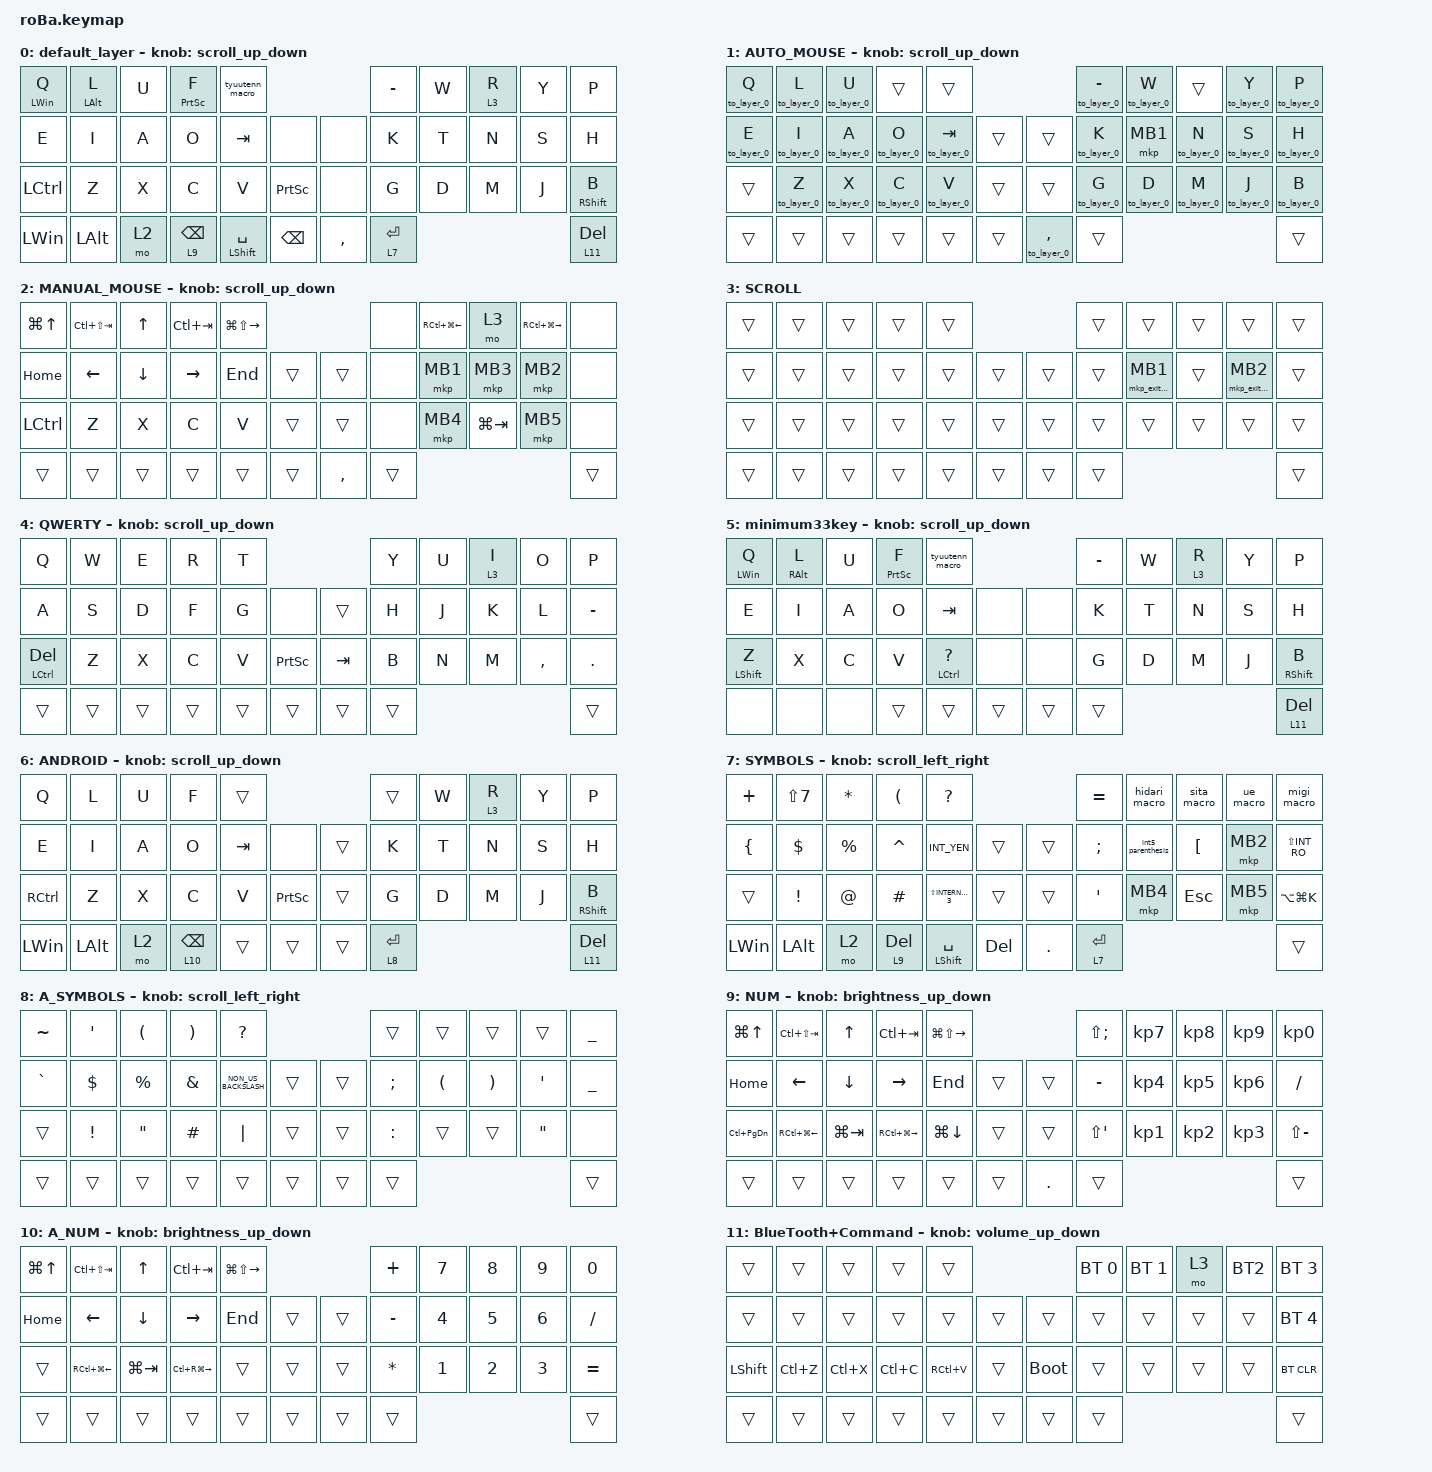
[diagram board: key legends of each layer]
#include <behaviors.dtsi>
#include <dt-bindings/zmk/bt.h>
#include <dt-bindings/zmk/keys.h>
#include <dt-bindings/zmk/pointing.h>

#undef ZMK_POINTING_DEFAULT_SCRL_VAL

#define ZMK_POINTING_DEFAULT_SCRL_VAL 100
#define AUTO_MOUSE 1
#define SCROLL 3

&mt {
    flavor = "balanced";
    quick-tap-ms = <0>;
};

&trackball {
    automouse-layer = <1>;
    scroll-layers = <3>;

    // arrows {
    //     layers = <4>;
    //     bindings =
    //         <&kp RIGHT_ARROW>,
    //         <&kp LEFT_ARROW>,
    //         <&kp UP_ARROW>,
    //         <&kp DOWN_ARROW>;
    //     tick = <10>;
    //     wait-ms = <5>;
    //     tap-ms = <5>;
    // };
};

/ {
    combos {
        compatible = "zmk,combos";

        L0int4 {
            bindings = <&L0int4_macro>;
            key-positions = <18 19>;
            layers = <0 1 2 3 7 9 11>;
        };

        L0int5 {
            bindings = <&L0int5_macro>;
            key-positions = <12 13>;
            layers = <0 1 2 3 7 9 11>;
        };

        combo_android {
            bindings = <&kp LC(SPACE)>;
            key-positions = <12 13>;
            layers = <6 8 10>;   // ANDROIDだけ
        };

        combo_android2 {
            bindings = <&android_henkan>;
            key-positions = <18 19>;
            layers = <6 8 10>;   // ANDROIDだけ
        };

        PW {
            bindings = <&pa_macro>;
            key-positions = <9 0>;
        };

        gid {
            bindings = <&GID_macro>;
            key-positions = <0 8>;
        };

        to_manualmouse {
            bindings = <&tog 2>;
            key-positions = <9 8>;
        };

        zekken {
            bindings = <&kp D>;
            key-positions = <10 11>;
        };

        qwerty {
            bindings = <&tog 4>;
            key-positions = <0 1>;
        };

        m32key_mode {
            bindings = <&tog 5>;
            key-positions = <1 2>;
        };
    };

    macros {
        to_layer_0: to_layer_0 {
            compatible = "zmk,behavior-macro-one-param";
            #binding-cells = <1>;
            bindings = <&to 0 &macro_param_1to1 &kp MACRO_PLACEHOLDER>;
            label = "TO_LAYER_0";
        };

        mkp_exit_AML: mkp_exit_AML {
            compatible = "zmk,behavior-macro-one-param";
            #binding-cells = <1>;
            bindings =
                <&macro_press>,
                <&macro_param_1to1 &mkp MACRO_PLACEHOLDER>,
                <&macro_pause_for_release>,
                <&macro_release>,
                <&macro_param_1to1 &mkp MACRO_PLACEHOLDER>,
                <&macro_tap>,
                <&sl 1>;

            label = "MKP_EXIT_AML";
        };

        parenthesis: parenthesis {
            compatible = "zmk,behavior-macro";
            #binding-cells = <0>;
            bindings = <&kp ASTERISK &kp LEFT_PARENTHESIS &kp LEFT_ARROW>;
            label = "PARENTHESIS";
        };

        int5_parenthesis: int5_parenthesis {
            compatible = "zmk,behavior-macro";
            #binding-cells = <0>;
            bindings = <&kp INTERNATIONAL_5 &kp ASTERISK &kp LEFT_PARENTHESIS &kp LEFT_ARROW>;
            label = "int5_parenthesis";
        };

        pa_macro: pa_macro {
            compatible = "zmk,behavior-macro";
            #binding-cells = <0>;
            label = "Pa";
            bindings = <&kp INTERNATIONAL_5 &kp N0 &kp LS(K) &kp A &kp K &kp O &kp N1 &kp LS(M) &kp I &kp R &kp A &kp I &kp EXCLAMATION &kp N0 &kp N2>;
        };

        GID_macro: GID_macro {
            compatible = "zmk,behavior-macro";
            #binding-cells = <0>;
            label = "GID";
            bindings = <&kp INTERNATIONAL_5 &kp N0 &kp N0 &kp N2 &kp N0 &kp N2 &kp N2 &kp N5 &kp N1 &kp N8 &kp N9 &kp TAB>;
        };

        hidari_macro: hidari_macro {
            compatible = "zmk,behavior-macro";
            #binding-cells = <0>;
            label = "hidari";
            bindings = <&kp INTERNATIONAL_4 &kp H &kp I &kp D &kp A &kp R &kp I &kp SPACE>;
        };

        sita_macro: sita_macro {
            compatible = "zmk,behavior-macro";
            #binding-cells = <0>;
            label = "sita";
            bindings = <&kp INTERNATIONAL_4 &kp S &kp I &kp T &kp A &kp SPACE>;
        };

        ue_macro: ue_macro {
            compatible = "zmk,behavior-macro";
            #binding-cells = <0>;
            label = "ue";
            bindings = <&kp INTERNATIONAL_4 &kp U &kp E &kp SPACE>;
        };

        migi_macro: migi_macro {
            compatible = "zmk,behavior-macro";
            #binding-cells = <0>;
            label = "migi";
            bindings = <&kp INTERNATIONAL_4 &kp M &kp I &kp G &kp I &kp SPACE>;
        };

        tyuutenn_macro: tyuutenn_macro {
            compatible = "zmk,behavior-macro";
            #binding-cells = <0>;
            label = "tyuutenn";
            bindings = <&kp INTERNATIONAL_4 &kp SLASH>;
        };

        L0int4_macro: L0int4_macro {
            compatible = "zmk,behavior-macro";
            #binding-cells = <0>;
            label = "L0int4";
            bindings = <&to 0 &kp INTERNATIONAL_4>;
        };

        L0int5_macro: L0int5_macro {
            compatible = "zmk,behavior-macro";
            #binding-cells = <0>;
            label = "L0int5";
            bindings = <&to 0 &kp INTERNATIONAL_5>;
        };

        move_window_next_desktop: move_window_next_desktop {
            compatible = "zmk,behavior-macro";
            #binding-cells = <0>;
            label = "MOVE_WIN_NEXT_DESKTOP";
            bindings =
                <&macro_tap>,
                <&kp LG(TAB)>,
                <&macro_wait_time 1000>,
                <&macro_tap>,
                <&kp LS(F10)>,
                <&macro_wait_time 1000>,
                <&macro_tap>,
                <&kp DOWN_ARROW>,
                <&macro_wait_time 1000>,
                <&macro_tap>,
                <&kp DOWN_ARROW>,
                <&macro_wait_time 1000>,
                <&macro_tap>,
                <&kp ENTER>,
                <&macro_wait_time 1000>,
                <&macro_tap>,
                <&kp ENTER>,
                <&macro_wait_time 1000>,
                <&macro_tap>,
                <&kp ENTER>,
                <&macro_wait_time 1000>,
                <&macro_tap>,
                <&kp LG(LC(RIGHT_ARROW))>;
        };

        exit_to_0: exit_to_0 {
            compatible = "zmk,behavior-macro";
            #binding-cells = <0>;
            bindings = <&to 0>;
        };

        BT2: BT2 {
            compatible = "zmk,behavior-macro";
            #binding-cells = <0>;
            bindings = <&bt BT_SEL 2>, <&macro_wait_time 200>, <&to 6>;

            label = "BT3";
        };

        android_henkan: android_henkan {
            compatible = "zmk,behavior-macro";
            #binding-cells = <0>;
            bindings = <&to 6 &kp LC(SPACE)>;
            label = "ANDROID_HENKAN";
        };

        A_parenthesis: A_pararent {
            compatible = "zmk,behavior-macro";
            #binding-cells = <0>;
            bindings = <&kp LEFT_PARENTHESIS &kp RIGHT_PARENTHESIS &kp LEFT>;
            label = "A_PARARENT";
        };

        TeamsMute: excel_pagedown {
            compatible = "zmk,behavior-macro";
            #binding-cells = <0>;
            bindings = <&none>;
            label = "EXCEL_PAGEDOWN";
        };

        mo_to_0: mo_to_0 {
            compatible = "zmk,behavior-hold-tap";
            label = "MO_TO_0";
            bindings = <&mo>, <&to>;

            #binding-cells = <2>;
            tapping-term-ms = <0>;
        };

        mo_exit_0: mo_exit_0 {
            compatible = "zmk,behavior-hold-tap";
            label = "MO_EXIT_0";
            bindings = <&mo>, <&to>;

            #binding-cells = <2>;
            tapping-term-ms = <0>;
        };
    };

    behaviors {
        lt_to_layer_0: lt_to_layer_0 {
            compatible = "zmk,behavior-hold-tap";
            label = "LAYER_TAP_TO_0";
            bindings = <&mo>, <&to_layer_0>;

            #binding-cells = <2>;
            tapping-term-ms = <200>;
        };

        scroll_up_down: behavior_sensor_rotate_mouse_wheel_up_down {
            compatible = "zmk,behavior-sensor-rotate";
            #sensor-binding-cells = <0>;
            bindings = <&msc SCRL_DOWN>, <&msc SCRL_UP>;

            // 追加: スクロールのタップ時間を設定 (20ms)

            tap-ms = <20>;
        };

        scroll_left_right: behavior_sensor_rotate_mouse_wheel_left_right {
            compatible = "zmk,behavior-sensor-rotate";
            #sensor-binding-cells = <0>;
            bindings = <&msc SCRL_RIGHT>, <&msc SCRL_LEFT>;

            tap-ms = <20>;
        };

        volume_up_down: behavior_sensor_rotate_volume {
            compatible = "zmk,behavior-sensor-rotate";
            #sensor-binding-cells = <0>;
            bindings = <&kp C_VOL_DN &kp C_VOL_UP>;  // 左, 右
            tap-ms = <20>;
        };

        brightness_up_down: behavior_sensor_rotate_brightness {
            compatible = "zmk,behavior-sensor-rotate";
            #sensor-binding-cells = <0>;
            bindings = <&kp C_BRI_DN &kp C_BRI_UP>;  // 左, 右
            tap-ms = <20>;
        };

        multi_tap_tab_bspc: behavior_multi_tap {
            label = "MT_TAB_BSPC";
            #binding-cells = <0>;
            bindings = <&kp TAB>, <&kp BSPC>;

            max-taps = <2>;
            max-tap-interrupt-ms = <250>;
        };
    };

    keymap {
        compatible = "zmk,keymap";

        default_layer {
            bindings = <
&mt LEFT_WIN Q  &mt LEFT_ALT L  &kp U  &mt PRINTSCREEN F  &tyuutenn_macro                                       &kp MINUS    &kp W  &lt 3 R  &kp Y  &kp P
&kp E           &kp I           &kp A  &kp O              &kp TAB               &none                &none      &kp K        &kp T  &kp N    &kp S  &kp H
&kp LCTRL       &kp Z           &kp X  &kp C              &kp V                 &kp PRINTSCREEN      &none      &kp G        &kp D  &kp M    &kp J  &mt RIGHT_SHIFT B
&kp LEFT_WIN    &kp LALT        &mo 2  &lt 9 BACKSPACE    &mt LEFT_SHIFT SPACE  &kp BACKSPACE        &kp COMMA  &lt 7 ENTER                         &lt 11 DELETE
            >;

            sensor-bindings = <&scroll_up_down>;
        };

        AUTO_MOUSE {
            bindings = <
&to_layer_0 Q  &to_layer_0 L  &to_layer_0 U  &trans         &trans                                          &to_layer_0 MINUS  &to_layer_0 W  &trans         &to_layer_0 Y  &to_layer_0 P
&to_layer_0 E  &to_layer_0 I  &to_layer_0 A  &to_layer_0 O  &to_layer_0 TAB  &trans      &trans             &to_layer_0 K      &mkp MB1       &to_layer_0 N  &to_layer_0 S  &to_layer_0 H
&trans         &to_layer_0 Z  &to_layer_0 X  &to_layer_0 C  &to_layer_0 V    &trans      &trans             &to_layer_0 G      &to_layer_0 D  &to_layer_0 M  &to_layer_0 J  &to_layer_0 B
&trans         &trans         &trans         &trans         &trans           &trans      &to_layer_0 COMMA  &trans                                                          &trans
            >;

            sensor-bindings = <&scroll_up_down>;
        };

        MANUAL_MOUSE {
            bindings = <
&kp LG(UP_ARROW)  &kp LC(LS(TAB))  &kp UP_ARROW    &kp LC(TAB)      &kp LG(LS(RIGHT_ARROW))                         &none   &kp RC(LG(LEFT))  &mo 3        &kp RC(LG(RIGHT_ARROW))  &none
&kp HOME          &kp LEFT_ARROW   &kp DOWN_ARROW  &kp RIGHT_ARROW  &kp END                  &trans      &trans     &none   &mkp MB1          &mkp MB3     &mkp MB2                 &none
&kp LCTRL         &kp Z            &kp X           &kp C            &kp V                    &trans      &trans     &none   &mkp MB4          &kp LG(TAB)  &mkp MB5                 &none
&trans            &trans           &trans          &trans           &trans                   &trans      &kp COMMA  &trans                                                          &trans
            >;

            sensor-bindings = <&scroll_up_down>;
        };

        SCROLL {
            bindings = <
&trans  &trans  &trans  &trans  &trans                      &trans  &trans             &trans  &trans             &trans
&trans  &trans  &trans  &trans  &trans  &trans      &trans  &trans  &mkp_exit_AML MB1  &trans  &mkp_exit_AML MB2  &trans
&trans  &trans  &trans  &trans  &trans  &trans      &trans  &trans  &trans             &trans  &trans             &trans
&trans  &trans  &trans  &trans  &trans  &trans      &trans  &trans                                                &trans
            >;
        };

        QWERTY {
            bindings = <
&kp Q             &kp W   &kp E   &kp R   &kp T                                 &kp Y   &kp U  &lt 3 I  &kp O      &kp P
&kp A             &kp S   &kp D   &kp F   &kp G   &none                &trans   &kp H   &kp J  &kp K    &kp L      &kp MINUS
&mt LCTRL DELETE  &kp Z   &kp X   &kp C   &kp V   &kp PRINTSCREEN      &kp TAB  &kp B   &kp N  &kp M    &kp COMMA  &kp DOT
&trans            &trans  &trans  &trans  &trans  &trans               &trans   &trans                             &trans
            >;

            sensor-bindings = <&scroll_up_down>;
        };

        minimum33key {
            bindings = <
&mt LEFT_WIN Q    &mt RALT L  &kp U  &mt PRINTSCREEN F  &tyuutenn_macro                         &kp MINUS  &kp W  &lt 3 R  &kp Y  &kp P
&kp E             &kp I       &kp A  &kp O              &kp TAB             &none       &none   &kp K      &kp T  &kp N    &kp S  &kp H
&mt LEFT_SHIFT Z  &kp X       &kp C  &kp V              &mt LCTRL QUESTION  &none       &none   &kp G      &kp D  &kp M    &kp J  &mt RIGHT_SHIFT B
&none             &none       &none  &trans             &trans              &trans      &trans  &trans                            &lt 11 DELETE
            >;

            sensor-bindings = <&scroll_up_down>;
        };

        ANDROID {
            bindings = <
&kp Q         &kp L         &kp U  &kp F             &trans                                &trans       &kp W  &lt 3 R  &kp Y  &kp P
&kp E         &kp I         &kp A  &kp O             &kp TAB  &none                &trans  &kp K        &kp T  &kp N    &kp S  &kp H
&kp RCTRL     &kp Z         &kp X  &kp C             &kp V    &kp PRINTSCREEN      &trans  &kp G        &kp D  &kp M    &kp J  &mt RIGHT_SHIFT B
&kp LEFT_WIN  &kp LEFT_ALT  &mo 2  &lt 10 BACKSPACE  &trans   &trans               &trans  &lt 8 ENTER                         &lt 11 DELETE
            >;

            sensor-bindings = <&scroll_up_down>;
        };

        SYMBOLS {
            bindings = <
&kp PLUS        &kp LS(N7)       &kp ASTERISK  &kp LEFT_PARENTHESIS  &kp QUESTION                                         &kp EQUAL         &hidari_macro      &sita_macro       &ue_macro  &migi_macro
&kp LEFT_BRACE  &kp DOLLAR       &kp PERCENT   &kp CARET             &kp INT_YEN              &trans          &trans      &kp SEMICOLON     &int5_parenthesis  &kp LEFT_BRACKET  &mkp MB2   &kp LS(INT_RO)
&trans          &kp EXCLAMATION  &kp AT_SIGN   &kp HASH              &kp LS(INTERNATIONAL_3)  &trans          &trans      &kp SINGLE_QUOTE  &mkp MB4           &kp ESCAPE        &mkp MB5   &kp LA(LG(K))
&kp LEFT_WIN    &kp LEFT_ALT     &mo 2         &lt 9 DELETE          &mt LEFT_SHIFT SPACE     &kp DELETE      &kp PERIOD  &lt 7 ENTER                                                       &trans
            >;

            sensor-bindings = <&scroll_left_right>;
        };

        A_SYMBOLS {
            bindings = <
&kp TILDE  &kp SQT          &kp LEFT_PARENTHESIS  &kp RIGHT_PARENTHESIS  &kp QUESTION                              &trans         &trans                &trans                 &trans             &kp UNDERSCORE
&kp GRAVE  &kp DOLLAR       &kp PERCENT           &kp AMPERSAND          &kp NON_US_BACKSLASH  &trans      &trans  &kp SEMICOLON  &kp LEFT_PARENTHESIS  &kp RIGHT_PARENTHESIS  &kp SQT            &kp UNDERSCORE
&trans     &kp EXCLAMATION  &kp DOUBLE_QUOTES     &kp HASH               &kp PIPE              &trans      &trans  &kp COLON      &trans                &trans                 &kp DOUBLE_QUOTES  &none
&trans     &trans           &trans                &trans                 &trans                &trans      &trans  &trans                                                                         &trans
            >;

            sensor-bindings = <&scroll_left_right>;
        };

        NUM {
            bindings = <
&kp LG(UP_ARROW)   &kp LC(LS(TAB))         &kp UP_ARROW    &kp LC(TAB)              &kp LG(LS(RIGHT_ARROW))                          &kp LS(SEMICOLON)     &kp KP_N7  &kp KP_N8  &kp KP_N9  &kp KP_N0
&kp HOME           &kp LEFT_ARROW          &kp DOWN_ARROW  &kp RIGHT_ARROW          &kp END                  &trans      &trans      &kp MINUS             &kp KP_N4  &kp KP_N5  &kp KP_N6  &kp SLASH
&kp LC(PAGE_DOWN)  &kp RC(LG(LEFT_ARROW))  &kp LG(TAB)     &kp RC(LG(RIGHT_ARROW))  &kp LG(DOWN_ARROW)       &trans      &trans      &kp LS(SINGLE_QUOTE)  &kp KP_N1  &kp KP_N2  &kp KP_N3  &kp LS(MINUS)
&trans             &trans                  &trans          &trans                   &trans                   &trans      &kp PERIOD  &trans                                                 &trans
            >;

            sensor-bindings = <&brightness_up_down>;
        };

        A_NUM {
            bindings = <
&kp LG(UP_ARROW)  &kp LC(LS(TAB))         &kp UP_ARROW    &kp LC(TAB)              &kp LG(LS(RIGHT_ARROW))                      &kp PLUS      &kp N7  &kp N8  &kp N9  &kp N0
&kp HOME          &kp LEFT_ARROW          &kp DOWN_ARROW  &kp RIGHT_ARROW          &kp END                  &trans      &trans  &kp MINUS     &kp N4  &kp N5  &kp N6  &kp SLASH
&trans            &kp RC(LG(LEFT_ARROW))  &kp LG(TAB)     &kp LC(RG(RIGHT_ARROW))  &trans                   &trans      &trans  &kp ASTERISK  &kp N1  &kp N2  &kp N3  &kp EQUAL
&trans            &trans                  &trans          &trans                   &trans                   &trans      &trans  &trans                                &trans
            >;

            sensor-bindings = <&brightness_up_down>;
        };

        BlueTooth+Command {
            bindings = <
&trans          &trans     &trans     &trans     &trans                              &bt BT_SEL 0  &bt BT_SEL 1  &mo 3   &BT2    &bt BT_SEL 3
&trans          &trans     &trans     &trans     &trans     &trans      &trans       &trans        &trans        &trans  &trans  &bt BT_SEL 4
&kp LEFT_SHIFT  &kp LC(Z)  &kp LC(X)  &kp LC(C)  &kp RC(V)  &trans      &bootloader  &trans        &trans        &trans  &trans  &bt BT_CLR
&trans          &trans     &trans     &trans     &trans     &trans      &trans       &trans                                      &trans
            >;

            sensor-bindings = <&volume_up_down>;
        };
    };
};
